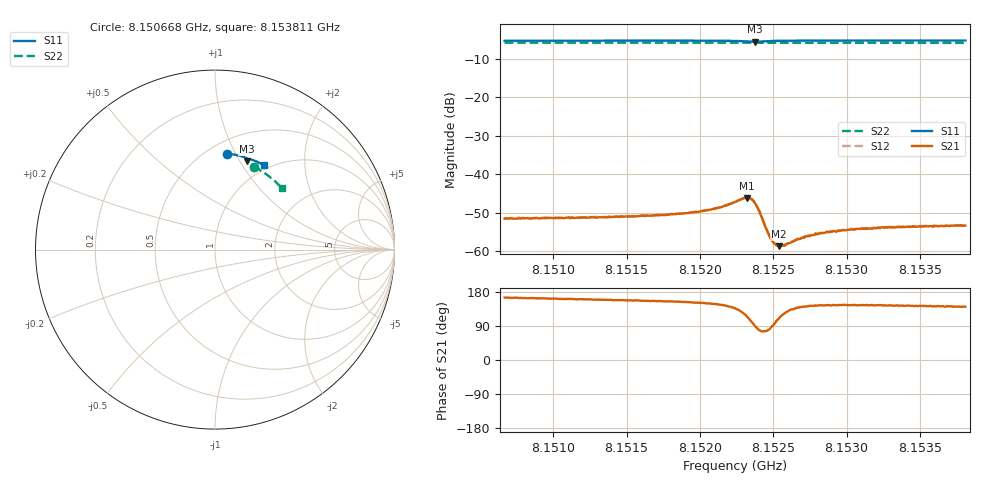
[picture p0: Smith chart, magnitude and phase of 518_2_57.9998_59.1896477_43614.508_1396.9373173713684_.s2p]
#  HZ  S  RI  R  50.00
! Rohde & Schwarz Vector Network Analyzer
! Rohde-Schwarz,ZNB20-2Port,1311601062101988,3.16
! Created: UTC 3/21/2024, 1:13:28 AM
! freq[Hz]  re:S11  im:S11  re:S21  im:S21  re:S12  im:S12  re:S22  im:S22
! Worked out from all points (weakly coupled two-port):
!   401 points, 8.150668 GHz to 8.153811 GHz, reference 50 ohm
!   highest |S21| = -46.10 dB at 8.152318 GHz (marker M1); lowest = -58.6 dB at 8.152538 GHz (marker M2)
!   lowest |S11| = -5.6 dB at 8.152373 GHz (marker M3), VSWR 3.20, Z = 39.4 + j53.5 ohm
!   |S11| at or under -10 dB: nowhere
!   |S22| runs from -5.9 to -5.8 dB; largest |S21 - S12| = 0.00012
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8.1506681e9  0.0685 0.5347  -0.00256 0.000696  -0.00259 0.000763  0.2154 0.4622
8.1511945e9  0.1051 0.5295  -0.00258 0.000905  -0.00259 0.000965  0.2453 0.4463
8.1517209e9  0.1417 0.5216  -0.00268 0.00121  -0.00267 0.00129  0.2737 0.4285
8.1518938e9  0.154 0.5181  -0.0028 0.00141  -0.00276 0.00146  0.2829 0.4223
8.1520588e9  0.1662 0.5139  -0.00297 0.00175  -0.00296 0.00181  0.2915 0.4159
8.1521452e9  0.173 0.5106  -0.00309 0.00212  -0.0031 0.0022  0.2959 0.4127
8.1522395e9  0.1805 0.5049  -0.00315 0.00302  -0.00315 0.00308  0.3006 0.4088
8.152318e9  0.1825 0.4955  -0.00218 0.00445  -0.00213 0.00451  0.3041 0.4054
8.1523495e9  0.1792 0.4926  -0.00103 0.00467  -0.000962 0.00472  0.3057 0.4043
8.152373e9  0.176 0.493  -7.65e-05 0.0043  -1.78e-05 0.00434  0.3068 0.4036
8.1524045e9  0.1737 0.4966  0.000658 0.00327  0.000669 0.0033  0.3081 0.4024
8.1524516e9  0.1762 0.502  0.000469 0.00192  0.000489 0.00193  0.3106 0.401
8.152483e9  0.1794 0.5038  0.000122 0.00144  0.000153 0.00148  0.3122 0.3996
8.1525066e9  0.182 0.5046  -0.000106 0.00127  -6.35e-05 0.00126  0.3134 0.3987
8.152538e9  0.1851 0.5048  -0.00038 0.00111  -0.000402 0.00112  0.3149 0.3975
8.1525616e9  0.1874 0.5049  -0.000583 0.00104  -0.000543 0.00106  0.3161 0.3967
8.152648e9  0.195 0.5038  -0.000992 0.000958  -0.000964 0.00101  0.3204 0.393
8.1527659e9  0.2041 0.5013  -0.0013 0.000983  -0.00129 0.000995  0.3264 0.3882
8.1528602e9  0.211 0.499  -0.00145 0.00103  -0.00144 0.00106  0.3306 0.384
8.1529702e9  0.2185 0.4961  -0.00154 0.00107  -0.00153 0.00113  0.3359 0.3796
8.1532923e9  0.2397 0.4871  -0.00166 0.0012  -0.00169 0.00124  0.3506 0.3652
8.1538108e9  0.272 0.4707  -0.00167 0.00138  -0.00165 0.00142  0.3728 0.3413
